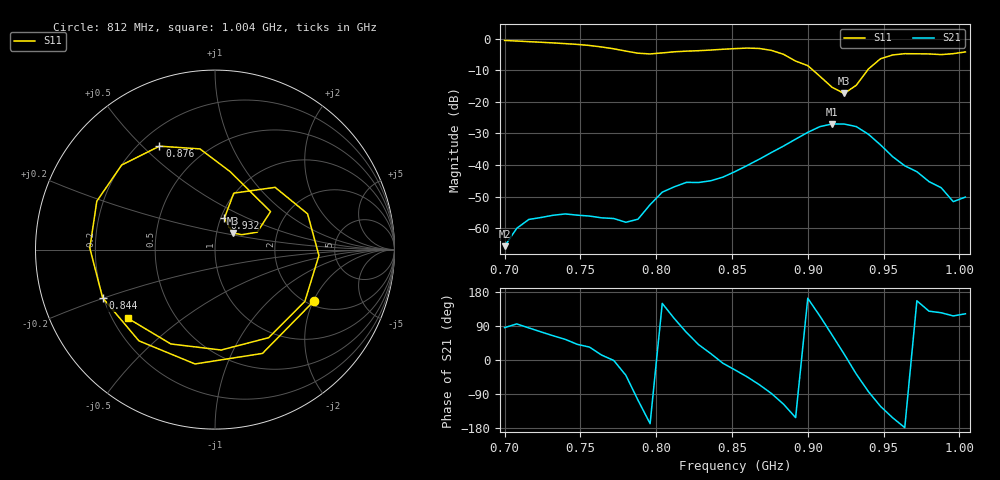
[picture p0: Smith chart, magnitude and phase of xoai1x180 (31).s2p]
# Hz S RI R 50
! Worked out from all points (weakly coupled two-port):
!   39 points, 700 MHz to 1.004 GHz, reference 50 ohm
!   highest |S21| = -27.01 dB at 916 MHz (marker M1); lowest = -65.7 dB at 700 MHz (marker M2)
!   lowest |S11| = -17.3 dB at 924 MHz (marker M3), VSWR 1.31, Z = 59.8 + j11.3 ohm
!   |S11| at or under -10 dB: 903.5 MHz to 939.4 MHz (35.84 MHz wide, 3.89 % of centre)
!   S12 and S22 are empty: the file has one direction only
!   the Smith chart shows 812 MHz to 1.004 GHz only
!   S11 on the Smith chart (normalised r, x): 812 MHz: 2.17, -2.02; 844 MHz: 0.20, -0.20; 876 MHz: 0.28, +0.56; 932 MHz: 1.04, +0.38; 1.004 GHz: 0.26, -0.33
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7e8  0.7585 0.5542  4.08e-05 0.000515  0 0  0 0
7.24e8  0.8438 -0.2499  0.000399 0.00142  0 0  0 0
7.4e8  0.4572 -0.7007  0.000973 0.00136  0 0  0 0
7.56e8  -0.1929 -0.7579  0.00128 0.000867  0 0  0 0
7.72e8  -0.6649 -0.1962  0.00142 -2.93e-05  0 0  0 0
7.8e8  -0.594 0.2297  0.000941 -0.0008  0 0  0 0
7.88e8  -0.2463 0.5362  -0.000382 -0.00133  0 0  0 0
7.96e8  0.242 0.521  -0.0023 -0.00049  0 0  0 0
8.04e8  0.5719 0.1689  -0.00318 0.00189  0 0  0 0
8.12e8  0.5513 -0.2866  -0.00148 0.00426  0 0  0 0
8.28e8  -0.1113 -0.6371  0.00401 0.00343  0 0  0 0
8.44e8  -0.6264 -0.2681  0.00634 -0.000954  0 0  0 0
8.52e8  -0.6974 0.00814  0.00703 -0.00346  0 0  0 0
8.76e8  -0.3092 0.5763  0.000485 -0.0157  0 0  0 0
9e8  0.3095 0.2118  -0.0314 0.00962  0 0  0 0
9.08e8  0.2353 0.097  -0.0178 0.0364  0 0  0 0
9.16e8  0.149 0.083  0.0179 0.0408  0 0  0 0
9.24e8  0.0992 0.0926  0.0429 0.0121  0 0  0 0
9.32e8  0.0523 0.1753  0.0324 -0.0244  0 0  0 0
9.56e8  0.5158 0.199  -0.012 -0.00629  0 0  0 0
9.8e8  0.2993 -0.4907  -0.00342 0.00424  0 0  0 0
1.004e9  -0.4849 -0.383  -0.00164 0.00263  0 0  0 0
